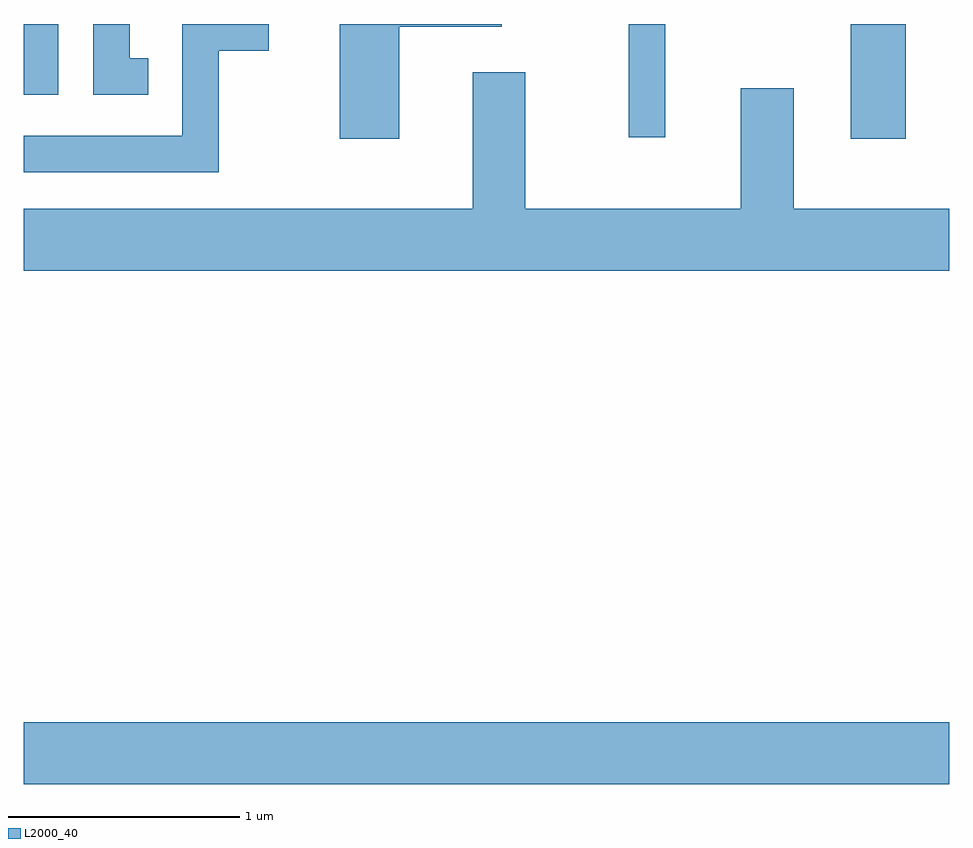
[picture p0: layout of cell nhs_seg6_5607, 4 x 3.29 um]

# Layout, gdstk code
import gdstk
lib = gdstk.Library(unit=1e-6, precision=1e-09)
def R(c, l, rs):  # rectangles x0, y0, x1, y1
    for r in rs: c.add(gdstk.rectangle(r[:2], r[2:], *l))
def P(c, l, *ps):  # polygons
    for p in ps: c.add(gdstk.Polygon(p, *l))
L2000_40 = (2000, 40)

nhs_seg6_5607 = lib.new_cell('nhs_seg6_5607')
R(nhs_seg6_5607, L2000_40, [(355.611,1598.876,359.611,1599.144), (359.186,1601.666,359.424,1602.162), (358.226,1601.673,358.384,1602.162), (355.611,1601.856,355.759,1602.162)])
P(nhs_seg6_5607, L2000_40, [(356.454,1602.046),(356.669,1602.046),(356.669,1602.162),(356.296,1602.162),(356.296,1601.679),(355.611,1601.679),(355.611,1601.521),(356.454,1601.521)],
  [(357.234,1602.151),(357.678,1602.151),(357.678,1602.162),(356.976,1602.162),(356.976,1601.666),(357.234,1601.666)],
  [(356.148,1602.014),(356.069,1602.014),(356.069,1602.162),(355.911,1602.162),(355.911,1601.856),(356.148,1601.856)],
  [(359.611,1601.364),(358.939,1601.364),(358.939,1601.884),(358.711,1601.884),(358.711,1601.364),(357.779,1601.364),(357.779,1601.954),(357.551,1601.954),(357.551,1601.364),(355.611,1601.364),(355.611,1601.096),(359.611,1601.096)])

lib.write_gds('nhs_seg6_5607.gds')
